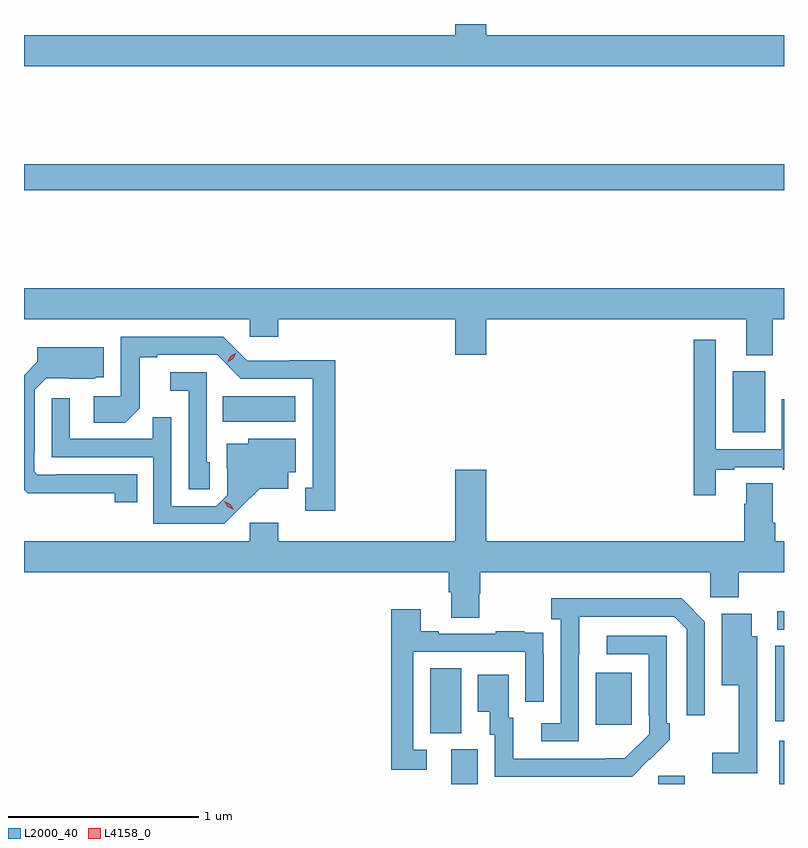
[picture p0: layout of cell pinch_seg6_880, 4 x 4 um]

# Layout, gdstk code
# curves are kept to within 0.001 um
import gdstk
lib = gdstk.Library(unit=1e-6, precision=1e-09)
def R(c, l, rs):  # rectangles x0, y0, x1, y1
    for r in rs: c.add(gdstk.rectangle(r[:2], r[2:], *l))
def P(c, l, *ps):  # polygons
    for p in ps: c.add(gdstk.Polygon(p, *l))
L2000_40 = (2000, 40)
L4158_0 = (4158, 0)

pinch_seg6_880 = lib.new_cell('pinch_seg6_880')
R(pinch_seg6_880, L2000_40, [(356.795,942.226,356.935,942.408), (357.885,942.226,358.024,942.27), (358.523,942.226,358.547,942.454), (356.684,942.493,356.848,942.836), (357.557,942.537,357.745,942.811), (358.502,942.555,358.547,942.953), (358.512,943.038,358.547,943.136), (358.277,944.078,358.447,944.398), (355.594,944.132,355.975,944.266), (354.547,945.352,358.547,945.488)])
P(pinch_seg6_880, L2000_40, [(358.547,946.168),(356.98,946.168),(356.98,946.226),(356.816,946.226),(356.816,946.168),(354.547,946.168),(354.547,946.004),(358.547,946.004)],
  [(358.489,944.672),(358.547,944.672),(358.547,944.836),(354.547,944.836),(354.547,944.672),(355.734,944.672),(355.734,944.579),(355.886,944.579),(355.886,944.672),(356.816,944.672),(356.816,944.484),(356.98,944.484),(356.98,944.672),(358.349,944.672),(358.349,944.483),(358.489,944.483)],
  [(356.185,944.456),(355.944,944.456),(355.944,944.454),(355.722,944.454),(355.596,944.58),(355.056,944.58),(355.056,944.268),(354.915,944.268),(354.915,944.128),(355.079,944.128),(355.155,944.204),(355.155,944.472),(355.249,944.472),(355.249,944.484),(355.563,944.484),(355.689,944.358),(356.066,944.358),(356.066,943.785),(356.027,943.785),(356.027,943.665),(356.185,943.665)],
  [(358.189,943.881),(358.285,943.881),(358.285,943.893),(358.541,943.893),(358.541,943.881),(358.547,943.881),(358.547,944.251),(358.535,944.251),(358.535,943.989),(358.188,943.989),(358.188,944.563),(358.072,944.563),(358.072,943.746),(358.189,943.746)],
  [(355.142,943.857),(354.718,943.857),(354.718,943.854),(354.618,943.854),(354.6,943.872),(354.6,943.972),(354.603,943.972),(354.603,944.301),(354.663,944.361),(354.92,944.36),(354.926,944.366),(354.967,944.366),(354.967,944.524),(354.617,944.524),(354.617,944.448),(354.547,944.378),(354.547,943.776),(354.566,943.757),(355.024,943.756),(355.024,943.71),(355.142,943.71)],
  [(355.524,943.92),(355.509,943.92),(355.509,944.394),(355.317,944.394),(355.317,944.297),(355.413,944.297),(355.413,943.777),(355.524,943.777)],
  [(355.684,943.679),(355.787,943.781),(355.939,943.781),(355.939,943.868),(355.978,943.868),(355.978,944.044),(355.728,944.044),(355.728,944.017),(355.613,944.017),(355.613,943.888),(355.617,943.888),(355.617,943.746),(355.56,943.689),(355.323,943.689),(355.323,944.156),(355.225,944.156),(355.225,944.043),(354.789,944.043),(354.789,944.257),(354.693,944.257),(354.693,943.947),(355.227,943.947),(355.227,943.596),(355.6,943.596)],
  [(356.943,943.227),(356.948,943.227),(356.948,943.34),(358.158,943.34),(358.158,943.209),(358.31,943.209),(358.31,943.34),(358.547,943.34),(358.547,943.504),(358.502,943.504),(358.502,943.6),(358.489,943.6),(358.489,943.808),(358.349,943.808),(358.349,943.7),(358.337,943.7),(358.337,943.504),(356.98,943.504),(356.98,943.879),(356.816,943.879),(356.816,943.504),(355.886,943.504),(355.886,943.6),(355.734,943.6),(355.734,943.504),(354.547,943.504),(354.547,943.34),(356.783,943.34),(356.783,943.234),(356.795,943.234),(356.795,943.102),(356.943,943.102)],
  [(357.468,942.907),(357.469,943.107),(357.969,943.107),(358.035,943.041),(358.035,942.588),(358.131,942.588),(358.131,943.081),(358.008,943.204),(357.321,943.204),(357.321,943.094),(357.372,943.094),(357.372,942.546),(357.27,942.546),(357.27,942.45),(357.468,942.45)],
  [(356.668,942.405),(356.595,942.405),(356.595,942.921),(357.186,942.921),(357.186,942.66),(357.282,942.66),(357.282,942.914),(357.281,942.914),(357.281,943.023),(357.179,943.023),(357.179,943.03),(357.031,943.03),(357.031,943.017),(356.731,943.017),(356.731,943.03),(356.635,943.03),(356.635,943.147),(356.479,943.147),(356.479,942.3),(356.668,942.3)],
  [(358.407,943.003),(358.378,943.003),(358.378,943.123),(358.22,943.123),(358.22,942.746),(358.31,942.746),(358.31,942.391),(358.17,942.391),(358.17,942.282),(358.407,942.282)],
  [(357.839,942.355),(357.84,942.354),(357.945,942.459),(357.945,942.547),(357.93,942.547),(357.93,943.005),(357.615,943.005),(357.615,942.909),(357.834,942.909),(357.834,942.589),(357.837,942.589),(357.837,942.489),(357.709,942.361),(357.121,942.36),(357.121,942.576),(357.097,942.576),(357.097,942.802),(356.936,942.802),(356.936,942.605),(356.999,942.605),(356.999,942.486),(357.024,942.486),(357.024,942.264),(357.748,942.264)])
P(pinch_seg6_880, L4158_0, [(355.616,944.445),(355.616,944.445),(355.633,944.477),(355.664,944.497),(355.665,944.497),(355.665,944.496),(355.648,944.464),(355.616,944.445)],
  [(355.65,943.67),(355.619,943.684),(355.601,943.713),(355.601,943.714),(355.602,943.714),(355.632,943.699),(355.65,943.67),(355.65,943.67)])

lib.write_gds('pinch_seg6_880.gds')
